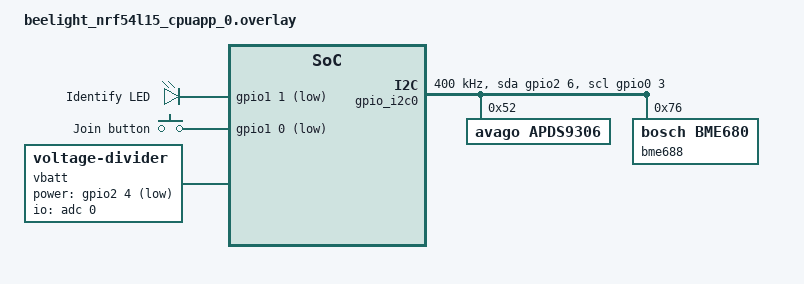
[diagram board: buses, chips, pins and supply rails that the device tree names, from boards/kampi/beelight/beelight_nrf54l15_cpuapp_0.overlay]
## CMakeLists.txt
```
# Copyright (c) 2026 BeeLight Project
# SPDX-License-Identifier: Apache-2.0

cmake_minimum_required(VERSION 3.20.0)

# Apply Zephyr patches before build
file(GLOB_RECURSE files RELATIVE ${CMAKE_SOURCE_DIR} "patches/zephyr/*.patch")
foreach(file ${files})
    message("Execute patch ${file}")
    execute_process(COMMAND
                    patch -p1 -d $ENV{ZEPHYR_BASE} -i ${CMAKE_CURRENT_SOURCE_DIR}/${file} -r - --no-backup-if-mismatch)
endforeach()

# Apply ncs-zigbee patches before build
file(GLOB_RECURSE files RELATIVE ${CMAKE_SOURCE_DIR} "patches/ncs-zigbee/*.patch")
foreach(file ${files})
    message("Execute patch ${file}")
    execute_process(COMMAND
                    patch -p1 -d ${CMAKE_CURRENT_SOURCE_DIR}/../ncs-zigbee -i ${CMAKE_CURRENT_SOURCE_DIR}/${file} -r - --no-backup-if-mismatch --binary)
endforeach()

find_package(Zephyr REQUIRED HINTS $ENV{ZEPHYR_BASE})

project(BeeLight)

add_subdirectory(src/events)
add_subdirectory(src/sensors)

include_directories(src)
include_directories(src/events)

target_sources(app PRIVATE
                   src/main.c
)

target_include_directories(app PRIVATE
                               src/sensors
                               src/events
)
```

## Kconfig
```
menu "Zephyr Kernel"
    source "Kconfig.zephyr"
endmenu

menu "BeeLight"
    menu "Logging"
        rsource "src/events/Kconfig"
        rsource "src/sensors/Kconfig"
    endmenu
endmenu
```

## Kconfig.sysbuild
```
source "${ZEPHYR_BASE}/share/sysbuild/Kconfig"

config NRF_DEFAULT_IPC_RADIO
    bool
    default y

config NETCORE_IPC_RADIO_IEEE802154
    bool
    default y
```

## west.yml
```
manifest:
  self:
    west-commands: scripts/west-commands.yml

  remotes:
    - name: ncs
      url-base: https://github.com/nrfconnect
    - name: bosch
      url-base: https://github.com/boschsensortec

  group-filter: [+bsec2]

  projects:
    - name: ncs-zigbee
      remote: ncs
      revision: main

    - name: nrf
      remote: ncs
      repo-path: sdk-nrf
      revision: v2.9.2
      import:
        name-blocklist:
          - ci-tools
          - hal_st
          - hal_adi
          - hal_afbr
          - hal_atmel
          - hal_ambiq
          - hal_bouffalolab
          - hal_ethos_u
          - hal_espressif
          - hal_rpi_pico
          - hal_gigadevice
          - hal_altera
          - hal_cypress
          - hal_infineon
          - hal_intel
          - hal_microchip
          - hal_cirrus-logic
          - hal_nxp
          - hal_nuvoton
          - hal_openisa
          - hal_xtensa
          - hal_quicklogic
          - hal_renesas
          - hal_sifli
          - hal_silabs
          - hal_st
          - hal_stm32
          - hal_ti
          - hal_tdk
          - hal_telink
          - hal_wch
          - hal_wuerthelektronik
          - loramac-node
          - net-tools
          - edtt
          - trusted-firmware-m
          - sof
          - xtensa

    - name: bsec2
      repo-path: Bosch-BSEC2-Library
      remote: bosch
      groups:
        - bsec2
```

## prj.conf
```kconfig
CONFIG_PM_DEVICE=y
CONFIG_GPIO=y
CONFIG_POWEROFF=y
CONFIG_HWINFO=y
```

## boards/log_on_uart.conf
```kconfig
CONFIG_LOG=y
CONFIG_SERIAL=y
CONFIG_UART_CONSOLE=y
CONFIG_LOG_BACKEND_RTT=n
CONFIG_LOG_BACKEND_UART=y
CONFIG_CONSOLE=y
```

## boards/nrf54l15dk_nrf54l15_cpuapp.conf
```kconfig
CONFIG_FPU=y

CONFIG_NEWLIB_LIBC=y

# Enable UART driver
CONFIG_SERIAL=y

# Enable console
CONFIG_CONSOLE=y

# Enable GPIO
CONFIG_GPIO=y

# Settings - Used to store real-time device configuration to flash
CONFIG_SETTINGS=y
CONFIG_SETTINGS_FCB=y
CONFIG_FCB=y
CONFIG_FLASH=y
CONFIG_FLASH_PAGE_LAYOUT=y
CONFIG_FLASH_MAP=y
CONFIG_STREAM_FLASH=y
CONFIG_MPU_ALLOW_FLASH_WRITE=y

# Enable the sensing subsystem
CONFIG_SENSOR=y

CONFIG_BME680=n
CONFIG_BME68X_IAQ=y
CONFIG_BME68X_IAQ_SAMPLE_RATE_QUICK_ULTRA_LOW_POWER=y

# Enable the ADC subsystem
CONFIG_ADC=y

# ZBUS configuration
CONFIG_ZBUS=y
CONFIG_ZBUS_RUNTIME_OBSERVERS=y
CONFIG_ZBUS_CHANNEL_NAME=y
CONFIG_ZBUS_OBSERVER_NAME=y
CONFIG_ZBUS_CHANNELS_SYS_INIT_PRIORITY=2

CONFIG_HEAP_MEM_POOL_SIZE=1024
CONFIG_SYSTEM_WORKQUEUE_STACK_SIZE=4096

# Enable DK LED and Buttons library (used by Zigbee utils)
CONFIG_DK_LIBRARY=y

# Networking
CONFIG_NET_IPV6=n
CONFIG_NET_IP_ADDR_CHECK=n
CONFIG_NET_UDP=n

# Configure Zigbee
CONFIG_ZIGBEE_ADD_ON=y
CONFIG_ZIGBEE_APP_UTILS=y
CONFIG_ZIGBEE_ROLE_END_DEVICE=y
CONFIG_ZIGBEE_CHANNEL_SELECTION_MODE_SINGLE=y
CONFIG_ZIGBEE_CHANNEL=16

# Enable API for powering down unused RAM parts
CONFIG_RAM_POWER_DOWN_LIBRARY=y

CONFIG_NCS_APPLICATION_BOOT_BANNER_STRING="nRF54L15DK"
```

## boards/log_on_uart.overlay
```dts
/ {
    chosen {
        zephyr,console = &uart20;
    };
};

&pinctrl {
	/omit-if-no-ref/ uart20_default: uart20_default {
		group1 {
			psels = <NRF_PSEL(UART_TX, 1, 4)>,
				    <NRF_PSEL(UART_RTS, 1, 6)>;
		};
		group2 {
			psels = <NRF_PSEL(UART_RX, 1, 5)>,
				    <NRF_PSEL(UART_CTS, 1, 7)>;
			bias-pull-up;
		};
	};

	/omit-if-no-ref/ uart20_sleep: uart20_sleep {
		group1 {
			psels = <NRF_PSEL(UART_TX, 1, 4)>,
				    <NRF_PSEL(UART_RX, 1, 5)>,
				    <NRF_PSEL(UART_RTS, 1, 6)>,
				    <NRF_PSEL(UART_CTS, 1, 7)>;
			low-power-enable;
		};
	};
};

&uart20 {
    status = "okay";
	current-speed = <9600>;
	pinctrl-0 = <&uart20_default>;
	pinctrl-1 = <&uart20_sleep>;
	pinctrl-names = "default", "sleep";
};
```

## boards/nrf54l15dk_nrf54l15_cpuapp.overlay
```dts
&pinctrl {
    i2c_default: i2c_default {
        group1 {
            psels = <NRF_PSEL(TWIM_SDA, 0, 4)>,
                    <NRF_PSEL(TWIM_SCL, 0, 3)>;
        };
    };

    i2c_sleep: i2c_sleep {
        group1 {
            psels = <NRF_PSEL(TWIM_SDA, 0, 4)>,
                    <NRF_PSEL(TWIM_SCL, 0, 3)>;
            low-power-enable;
        };
    };
};

&i2c30 {
    status = "okay";
    compatible = "nordic,nrf-twim";
    clock-frequency = <I2C_BITRATE_FAST>;
    pinctrl-0 = <&i2c_default>;
    pinctrl-1 = <&i2c_sleep>;
    pinctrl-names = "default", "sleep";

    apds9306: apds9306@52 {
        status = "okay";
        compatible = "avago,apds9306";
        reg = <0x52>;
        gain = <1>;
        resolution = <13>;
        measurement-period = <2000>;
    };

    bme688: bme688@76 {
        status = "okay";
        compatible = "bosch,bme680";
        reg = <0x76>;
    };
};
```

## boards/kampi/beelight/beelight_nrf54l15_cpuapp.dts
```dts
/*
 * Copyright (c) 2025 Daniel Kampert
 *
 * SPDX-License-Identifier: Apache-2.0
 */

/dts-v1/;
#include <nordic/nrf54l15_cpuapp.dtsi>
#include "nrf54l15_cpuapp_common.dtsi"

/ {
    model = "BeeLight nRF54L15 Application";
    compatible = "nordic,beelight-nRF54L15-cpuapp";

    chosen {
    };
};
```

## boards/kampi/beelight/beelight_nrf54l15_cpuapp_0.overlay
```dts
/*
 * Copyright (c) 2025 Daniel Kampert
 *
 * SPDX-License-Identifier: Apache-2.0
 */

/ {
    leds {
        status = "okay";
        compatible = "gpio-leds";

        led0: led_0 {
            gpios = <&gpio1 1 GPIO_ACTIVE_LOW>;
            label = "Identify LED";
        };
    };

    buttons {
        status = "okay";
        compatible = "gpio-keys";

        button0: button_0 {
            gpios = <&gpio1 0 (GPIO_PULL_UP | GPIO_ACTIVE_LOW)>;
            label = "Join button";
            zephyr,code = <INPUT_KEY_0>;
        };
    };

    vbatt: vbatt {
        status = "okay";
        compatible = "voltage-divider";
        io-channels = <&adc 0>;
        output-ohms = <2200>;
        full-ohms = <(8200 + 2200)>;
        power-gpios = <&gpio2 4 (GPIO_PULL_UP | GPIO_ACTIVE_LOW)>;
    };

    gpio_i2c0: gpio_i2c {
        status = "okay";
        compatible = "gpio-i2c";
        clock-frequency = <I2C_BITRATE_FAST>;
        sda-gpios = <&gpio2 6 GPIO_OPEN_DRAIN>;
        scl-gpios = <&gpio0 3 GPIO_OPEN_DRAIN>;
        #address-cells = <1>;
        #size-cells = <0>;
    };
};

&i2c20 {
    status = "disabled";
};

&gpio_i2c0 {
    apds9306: apds9306@52 {
        status = "okay";
        compatible = "avago,apds9306";
        reg = <0x52>;
        gain = <1>;
        resolution = <13>;
        measurement-period = <2000>;
    };

    bme688: bme688@76 {
        status = "okay";
        compatible = "bosch,bme680";
        reg = <0x76>;
    };
};
```

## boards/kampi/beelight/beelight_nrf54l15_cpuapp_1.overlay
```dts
/*
 * Copyright (c) 2025 Daniel Kampert
 *
 * SPDX-License-Identifier: Apache-2.0
 */

/ {
    leds {
        status = "okay";
        compatible = "gpio-leds";

        led0: led_0 {
            gpios = <&gpio1 1 GPIO_ACTIVE_LOW>;
            label = "Identify LED";
        };
    };

    buttons {
        status = "okay";
        compatible = "gpio-keys";

        button0: button_0 {
            gpios = <&gpio1 0 (GPIO_PULL_UP | GPIO_ACTIVE_LOW)>;
            label = "Join button";
            zephyr,code = <INPUT_KEY_0>;
        };
    };

    vbatt: vbatt {
        status = "okay";
        compatible = "voltage-divider";
        io-channels = <&adc 0>;
        output-ohms = <2200>;
        full-ohms = <(8200 + 2200)>;
        power-gpios = <&gpio2 4 (GPIO_PULL_UP | GPIO_ACTIVE_LOW)>;
    };
};

&i2c20 {
    status = "okay";
    compatible = "nordic,nrf-twim";
    clock-frequency = <I2C_BITRATE_FAST>;
    pinctrl-0 = <&i2c_default>;
    pinctrl-1 = <&i2c_sleep>;
    pinctrl-names = "default", "sleep";

    apds9306: apds9306@52 {
        status = "okay";
        compatible = "avago,apds9306";
        reg = <0x52>;
        gain = <1>;
        resolution = <13>;
        measurement-period = <2000>;
    };

    bme688: bme688@76 {
        status = "okay";
        compatible = "bosch,bme680";
        reg = <0x76>;
    };
};
```

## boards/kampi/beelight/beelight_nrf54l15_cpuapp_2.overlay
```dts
/*
 * Copyright (c) 2025 Daniel Kampert
 *
 * SPDX-License-Identifier: Apache-2.0
 */

/ {
    leds {
        status = "okay";
        compatible = "gpio-leds";

        led0: led_0 {
            gpios = <&gpio1 1 GPIO_ACTIVE_LOW>;
            label = "Identify LED";
        };
    };

    buttons {
        status = "okay";
        compatible = "gpio-keys";

        button0: button_0 {
            gpios = <&gpio1 0 (GPIO_PULL_UP | GPIO_ACTIVE_LOW)>;
            label = "Join button";
            zephyr,code = <INPUT_KEY_0>;
        };
    };

    vbatt: vbatt {
        status = "okay";
        compatible = "voltage-divider";
        io-channels = <&adc 0>;
        output-ohms = <2200>;
        /* 8.2k + 2.2k = 10.4k */
        full-ohms = <10400>;
        power-gpios = <&gpio2 4 (GPIO_PULL_UP | GPIO_ACTIVE_LOW)>;
    };
};

&i2c20 {
    status = "okay";
    compatible = "nordic,nrf-twim";
    clock-frequency = <I2C_BITRATE_FAST>;
    pinctrl-0 = <&i2c_default>;
    pinctrl-1 = <&i2c_sleep>;
    pinctrl-names = "default", "sleep";

    apds9306: apds9306@52 {
        status = "okay";
        compatible = "avago,apds9306";
        reg = <0x52>;
        gain = <1>;
        resolution = <13>;
        measurement-period = <2000>;
    };

    bme688: bme688@76 {
        status = "okay";
        compatible = "bosch,bme680";
        reg = <0x76>;
    };
};
```

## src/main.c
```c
/*
 * This file is part of the BeeLight project <https://github.com/Kampi/BeeLight>.
 * Copyright (c) 2026 Daniel Kampert.
 *
 * This program is free software: you can redistribute it and/or modify
 * it under the terms of the GNU General Public License as published by
 * the Free Software Foundation, version 3.
 *
 * This program is distributed in the hope that it will be useful, but
 * WITHOUT ANY WARRANTY; without even the implied warranty of
 * MERCHANTABILITY or FITNESS FOR A PARTICULAR PURPOSE. See the GNU
 * General Public License for more details.
 *
 * You should have received a copy of the GNU General Public License
 * along with this program. If not, see <http://www.gnu.org/licenses/>.
 */

#include <zephyr/types.h>
#include <zephyr/kernel.h>
#include <zephyr/device.h>
#include <zephyr/logging/log.h>
#include <zephyr/settings/settings.h>

#include <soc.h>
#include <ram_pwrdn.h>
#include <dk_buttons_and_leds.h>

#include <zboss_api.h>
#include <zboss_api_addons.h>
#include <zb_nrf_platform.h>
#include <zb_mem_config_med.h>
#include <zigbee/zigbee_app_utils.h>
#include <zigbee/zigbee_error_handler.h>

#include <math.h>
#include <stdlib.h>

#include "events.h"
#include "beelight/beelight.h"

/** @brief Zigbee device application context storage.
 */
static device_ctx_t dev_ctx;

/** @brief
 */
static void zbus_on_light_callback(const struct zbus_channel *chan);

/** @brief
 */
static void zbus_on_env_callback(const struct zbus_channel *chan);

/** @brief
 */
static void zbus_on_battery_callback(const struct zbus_channel *chan);

/* Declare attribute list for Identify cluster (client). */
ZB_ZCL_DECLARE_IDENTIFY_CLIENT_ATTRIB_LIST(
    identify_client_attr_list);

/** @brief Declare attribute list for Identify cluster (server).
 */
ZB_ZCL_DECLARE_IDENTIFY_SERVER_ATTRIB_LIST(
    identify_server_attr_list,
    &dev_ctx.identify_attr.identify_time);

/** @brief
 */
ZB_ZCL_DECLARE_BASIC_ATTRIB_LIST_EXT(
    basic_attr_list,
    &dev_ctx.basic_attr.zcl_version,
    &dev_ctx.basic_attr.app_version,
    &dev_ctx.basic_attr.stack_version,
    &dev_ctx.basic_attr.hw_version,
    dev_ctx.basic_attr.mf_name,
    dev_ctx.basic_attr.model_id,
    dev_ctx.basic_attr.date_code,
    &dev_ctx.basic_attr.power_source,
    dev_ctx.basic_attr.location_id,
    &dev_ctx.basic_attr.ph_env,
    dev_ctx.basic_attr.sw_ver);

/** @brief Power cluster attributes additions data.
 */
ZB_ZCL_DECLARE_POWER_CONFIG_BATTERY_ATTRIB_LIST_EXT(
    power_attr_list,
    &dev_ctx.power_attr.voltage,
    &dev_ctx.power_attr.size,
    &dev_ctx.power_attr.quantity,
    &dev_ctx.power_attr.rated_voltage,
    &dev_ctx.power_attr.alarm_mask,
    &dev_ctx.power_attr.voltage_min_threshold,
    &dev_ctx.power_attr.percent_remaining,
    &dev_ctx.power_attr.voltage_threshold_1,
    &dev_ctx.power_attr.voltage_threshold_2,
    &dev_ctx.power_attr.voltage_threshold_3,
    &dev_ctx.power_attr.percent_min_threshold,
    &dev_ctx.power_attr.percent_threshold_1,
    &dev_ctx.power_attr.percent_threshold_2,
    &dev_ctx.power_attr.percent_threshold_3,
    &dev_ctx.power_attr.alarm_state);

/** @brief Illuminance cluster attributes additions data.
 */
ZB_ZCL_DECLARE_ILLUMINANCE_MEASUREMENT_ATTRIB_LIST(
    light_sensor_attr_list,
    &dev_ctx.illuminance_attr.measurement_attr,
    &dev_ctx.illuminance_attr.min_attr,
    &dev_ctx.illuminance_attr.max_attr);

/** @brief Temperature cluster attributes additions data.
 */
ZB_ZCL_DECLARE_TEMP_MEASUREMENT_ATTRIB_LIST(
    temp_sensor_attr_list,
    &dev_ctx.temperature_attr.measurement_attr,
    &dev_ctx.temperature_attr.min_attr,
    &dev_ctx.temperature_attr.max_attr,
    &dev_ctx.temperature_attr.tolerance);

/** @brief Pressure cluster attributes additions data.
 */
ZB_ZCL_DECLARE_PRESSURE_MEASUREMENT_ATTRIB_LIST(
    pres_sensor_attr_list,
    &dev_ctx.pressure_attr.measurement_attr,
    &dev_ctx.pressure_attr.min_attr,
    &dev_ctx.pressure_attr.max_attr,
    &dev_ctx.pressure_attr.tolerance);

/** @brief Humidity cluster attributes additions data.
 */
ZB_ZCL_DECLARE_REL_HUMIDITY_MEASUREMENT_ATTRIB_LIST(
    hum_sensor_attr_list,
    &dev_ctx.humidity_attr.measurement_attr,
    &dev_ctx.humidity_attr.min_attr,
    &dev_ctx.humidity_attr.max_attr);

#if CONFIG_BME68X_IAQ
/** @brief Carbon Dioxide cluster attributes additions data.
 */
ZB_BEELIGHT_DECLARE_CO2_MEASUREMENT_ATTRIB_LIST(
    co2_sensor_attr_list,
    &dev_ctx.co2_attr.measurement_attr,
    &dev_ctx.co2_attr.min_attr,
    &dev_ctx.co2_attr.max_attr,
    &dev_ctx.co2_attr.tolerance);

/** @brief IAQ cluster attributes additions data.
 */
ZB_BEELIGHT_DECLARE_IAQ_MEASUREMENT_ATTRIB_LIST(
    iaq_sensor_attr_list,
    &dev_ctx.iaq_attr.measurement_attr,
    &dev_ctx.iaq_attr.min_attr,
    &dev_ctx.iaq_attr.max_attr,
    &dev_ctx.iaq_attr.tolerance);

/** @brief VOC cluster attributes additions data.
 */
ZB_BEELIGHT_DECLARE_VOC_MEASUREMENT_ATTRIB_LIST(
    voc_sensor_attr_list,
    &dev_ctx.voc_attr.measurement_attr,
    &dev_ctx.voc_attr.min_attr,
    &dev_ctx.voc_attr.max_attr,
    &dev_ctx.voc_attr.tolerance);
#endif /* CONFIG_BME68X_IAQ */

BEELIGHT_DECLARE_CLUSTER_LIST(
    env_sensor_clusters,
    basic_attr_list,
    identify_client_attr_list,
    identify_server_attr_list,
    power_attr_list,
    light_sensor_attr_list,
    temp_sensor_attr_list,
    pres_sensor_attr_list,
#if CONFIG_BME68X_IAQ
    hum_sensor_attr_list,
    co2_sensor_attr_list,
    iaq_sensor_attr_list,
    voc_sensor_attr_list
#else
    hum_sensor_attr_list
#endif /* CONFIG_BME68X_IAQ */
);

BEELIGHT_DECLARE_EP(
    env_sensor_ep,
    BEELIGHT_ENDPOINT,
    env_sensor_clusters);

ZBOSS_DECLARE_DEVICE_CTX_1_EP(
    env_sensor_ctx,
    env_sensor_ep);

ZBUS_CHAN_DECLARE(light_data_chan);
ZBUS_LISTENER_DEFINE(light_data_lis, zbus_on_light_callback);

ZBUS_CHAN_DECLARE(env_data_chan);
ZBUS_LISTENER_DEFINE(env_data_lis, zbus_on_env_callback);

ZBUS_CHAN_DECLARE(battery_data_chan);
ZBUS_LISTENER_DEFINE(battery_data_lis, zbus_on_battery_callback);

LOG_MODULE_REGISTER(app, LOG_LEVEL_DBG);

/** @brief          Function to toggle the identify LED.
 *  @param bufid    Unused parameter, required by ZBOSS scheduler API
 */
static void toggle_identify_led(zb_bufid_t bufid)
{
    ZB_SCHEDULE_APP_ALARM(toggle_identify_led, bufid, ZB_MILLISECONDS_TO_BEACON_INTERVAL(100));
}

/** @brief          Starts identifying the device.
 *  @param bufid    Unused parameter, required by ZBOSS scheduler API
 */
static void start_identifying(zb_bufid_t bufid)
{
    ZVUNUSED(bufid);

    if (ZB_JOINED()) {
        /* Check if endpoint is in identifying mode, if not, put desired endpoint in identifying mode. */
        if (dev_ctx.identify_attr.identify_time == ZB_ZCL_IDENTIFY_IDENTIFY_TIME_DEFAULT_VALUE) {

            zb_ret_t zb_err_code = zb_bdb_finding_binding_target(BEELIGHT_ENDPOINT);

            if (zb_err_code == RET_OK) {
                LOG_INF("Enter identify mode");
            } else if (zb_err_code == RET_INVALID_STATE) {
                LOG_WRN("RET_INVALID_STATE - Cannot enter identify mode");
            } else {
                ZB_ERROR_CHECK(zb_err_code);
            }
        } else {
            LOG_INF("Cancel identify mode");
            zb_bdb_finding_binding_target_cancel();
        }
    } else {
        LOG_WRN("Device not in a network - cannot enter identify mode");
    }
}

static void on_Identify_Handler(zb_bufid_t bufid)
{
    zb_ret_t err = RET_OK;

    if (bufid) {
        /* Schedule a self-scheduling function that will toggle the LED */
        err = ZB_SCHEDULE_APP_CALLBACK(toggle_identify_led, bufid);
        if (err) {
            LOG_ERR("Failed to schedule app callback: %d", err);
        } else {
            LOG_INF("Enter identify mode");
        }
    } else {
        /* Cancel the toggling function alarm and turn off LED */
        err = ZB_SCHEDULE_APP_ALARM_CANCEL(toggle_identify_led,
                                           ZB_ALARM_ANY_PARAM);
        if (err) {
            LOG_ERR("Failed to schedule app alarm cancel: %d", err);
        } else {
            dk_set_led_off(ZIGBEE_NETWORK_STATE_LED);
            LOG_INF("Cancel identify mode");
        }
    }
}

/** @brief              Callback for button events.
 *  @param button_state Bitmask containing the state of the buttons
 *  @param has_changed  Bitmask containing buttons that have changed their state
 */
static void on_button_changed_handler(uint32_t button_state, uint32_t has_changed)
{
    LOG_DBG("Button pressed");

    if (IDENTIFY_MODE_BUTTON & has_changed) {
        if (IDENTIFY_MODE_BUTTON & button_state) {
        }
        /* Button changed its state to pressed */
        else {
            /* Button changed its state to released */
            if (was_factory_reset_done()) {
                /* The long press was for Factory Reset */
                LOG_DBG("After Factory Reset - ignore button release");
            }
            /* Button released before Factory Reset */
            else {
                LOG_DBG("Start identifying");

                /* Start identification mode */
                ZB_SCHEDULE_APP_CALLBACK(start_identifying, 0);
            }
        }
    }

    check_factory_reset_button(button_state, has_changed);
}

/** @brief Function for initializing all clusters attributes.
 */
static void app_clusters_attr_init(void)
{
    /* Basic cluster attributes data */
    dev_ctx.basic_attr.zcl_version = ZB_ZCL_VERSION;
    dev_ctx.basic_attr.app_version = INIT_BASIC_APP_VERSION;
    dev_ctx.basic_attr.stack_version = INIT_BASIC_STACK_VERSION;

#ifdef CONFIG_BOARD_REVISION
    dev_ctx.basic_attr.hw_version = (zb_uint8_t)atoi(CONFIG_BOARD_REVISION);
#else
    dev_ctx.basic_attr.hw_version = INIT_BASIC_HW_VERSION;
#endif /* CONFIG_BOARD_REVISION */

    /* Use ZB_ZCL_SET_STRING_VAL to set strings, because the first byte */
    /* should contain string length without trailing zero. */
    /* For example "test" string will be encoded as: */
    /*   [(0x4), 't', 'e', 's', 't'] */
    ZB_ZCL_SET_STRING_VAL(
        dev_ctx.basic_attr.mf_name,
        INIT_BASIC_MANUF_NAME,
        ZB_ZCL_STRING_CONST_SIZE(INIT_BASIC_MANUF_NAME)
    );

    ZB_ZCL_SET_STRING_VAL(
        dev_ctx.basic_attr.model_id,
        INIT_BASIC_MODEL_ID,
        ZB_ZCL_STRING_CONST_SIZE(INIT_BASIC_MODEL_ID)
    );

    ZB_ZCL_SET_STRING_VAL(
        dev_ctx.basic_attr.date_code,
        INIT_BASIC_DATE_CODE,
        ZB_ZCL_STRING_CONST_SIZE(INIT_BASIC_DATE_CODE)
    );

    dev_ctx.basic_attr.power_source = ZB_ZCL_BASIC_POWER_SOURCE_BATTERY;

    ZB_ZCL_SET_STRING_VAL(
        dev_ctx.basic_attr.location_id,
        INIT_BASIC_LOCATION_DESC,
        ZB_ZCL_STRING_CONST_SIZE(INIT_BASIC_LOCATION_DESC)
    );

    dev_ctx.basic_attr.ph_env = ZB_ZCL_BASIC_ENV_UNSPECIFIED;

    /* Identify cluster attributes data. */
    dev_ctx.identify_attr.identify_time = ZB_ZCL_IDENTIFY_IDENTIFY_TIME_DEFAULT_VALUE;

#if CONFIG_BME68X_IAQ
    /* Initialize IAQ/VOC/CO2 min and max with their INVALID sentinels so that
     * check_value_iaq_measurement_server does not reject measured values > 0. */
    dev_ctx.iaq_attr.min_attr = ZB_BEELIGHT_ATTR_IAQ_MEASUREMENT_MIN_VALUE_INVALID;
    dev_ctx.iaq_attr.max_attr = ZB_BEELIGHT_ATTR_IAQ_MEASUREMENT_MAX_VALUE_INVALID;
#endif /* CONFIG_BME68X_IAQ */

    /* Initialize the values for the Battery cluster attributes */
    dev_ctx.power_attr.size = ZB_ZCL_POWER_CONFIG_BATTERY_SIZE_CR2;
    dev_ctx.power_attr.quantity = 1;
    dev_ctx.power_attr.rated_voltage = BEELIGHT_RATED_VOLTAGE_MV / 100;

    ZB_ZCL_SET_ATTRIBUTE(
        BEELIGHT_ENDPOINT,
        ZB_ZCL_CLUSTER_ID_POWER_CONFIG,
        ZB_ZCL_CLUSTER_SERVER_ROLE,
        ZB_ZCL_ATTR_POWER_CONFIG_BATTERY_VOLTAGE_ID,
        (zb_uint8_t *)&dev_ctx.power_attr.voltage,
        ZB_FALSE
    );

    ZB_ZCL_SET_ATTRIBUTE(
        BEELIGHT_ENDPOINT,
        ZB_ZCL_CLUSTER_ID_POWER_CONFIG,
        ZB_ZCL_CLUSTER_SERVER_ROLE,
        ZB_ZCL_ATTR_POWER_CONFIG_BATTERY_PERCENTAGE_REMAINING_ID,
        (zb_uint8_t *)&dev_ctx.power_attr.percent_remaining,
        ZB_FALSE
    );
}

/** @brief          Callback function for handling ZCL commands.
 *  @param bufid    Reference to Zigbee stack buffer used to pass received data
 */
static void on_zcl_cb_handler(zb_bufid_t bufid)
{
    zb_zcl_device_callback_param_t *device_cb_param = ZB_BUF_GET_PARAM(bufid, zb_zcl_device_callback_param_t);

    if (device_cb_param->device_cb_id == ZB_ZCL_OTA_UPGRADE_VALUE_CB_ID) {
#ifdef CONFIG_ZIGBEE_FOTA
        zigbee_fota_zcl_cb(bufid);
#endif /* CONFIG_ZIGBEE_FOTA */
    } else {
        device_cb_param->status = RET_NOT_IMPLEMENTED;
    }
}

/** @brief          Zigbee stack event handler.
 *  @param bufid    Reference to the Zigbee stack buffer used to pass signal
 */
void zboss_signal_handler(zb_bufid_t bufid)
{
    zb_zdo_app_signal_hdr_t *p_sg_p = NULL;
    zb_zdo_app_signal_type_t sig = zb_get_app_signal(bufid, &p_sg_p);
    zb_ret_t status = ZB_GET_APP_SIGNAL_STATUS(bufid);

    /* Update network status LED. */
    switch (sig) {
        case ZB_SIGNAL_JOIN_DONE: {
            dk_set_led_off(ZIGBEE_NETWORK_STATE_LED);
            if (status == RET_OK) {
                for (uint8_t i = 0; i < 4; i++) {
                    dk_set_led_on(ZIGBEE_NETWORK_STATE_LED);
                    k_msleep(100);
                    dk_set_led_off(ZIGBEE_NETWORK_STATE_LED);
                    k_msleep(100);
                }
            }

            break;
        }
        case ZB_ZDO_SIGNAL_LEAVE: {
            for (uint8_t i = 0; i < 2; i++) {
                dk_set_led_on(ZIGBEE_NETWORK_STATE_LED);
                k_msleep(100);
                dk_set_led_off(ZIGBEE_NETWORK_STATE_LED);
                k_msleep(100);
            }

            break;
        }
        case ZB_ZDO_SIGNAL_SKIP_STARTUP: {
            LOG_DBG("Add observers for sensors");
            zbus_chan_add_obs(&battery_data_chan, &battery_data_lis, K_MSEC(100));
            zbus_chan_add_obs(&light_data_chan, &light_data_lis, K_MSEC(100));
            zbus_chan_add_obs(&env_data_chan, &env_data_lis, K_MSEC(100));
        }
        default: {
            break;
        }
    }

    /* No application-specific behavior is required. Call default signal handler. */
    ZB_ERROR_CHECK(zigbee_default_signal_handler(bufid));

    /* All callbacks should either reuse or free passed buffers. */
    /* If bufid == 0, the buffer is invalid (not passed). */
    if (bufid) {
        zb_buf_free(bufid);
    }
}

void zbus_on_light_callback(const struct zbus_channel *chan)
{
    const struct light_event *evt = zbus_chan_const_msg(chan);

    /* Compute ZCL-scaled value; clamp 0 lux per spec */
    /* See chapter 4.2.2.2.1 if the ZCL Specification */
    zb_uint16_t measured = (evt->light == 0)
                           ? 0
                           : (zb_uint16_t)(10000 * log10((double)evt->light) + 1);

    /* Only update when values differ */
    if (measured == dev_ctx.illuminance_attr.measurement_attr) {
        return;
    }

    dev_ctx.illuminance_attr.measurement_attr = measured;

    if (evt->light > dev_ctx.illuminance_attr.max_attr) {
        dev_ctx.illuminance_attr.max_attr = dev_ctx.illuminance_attr.measurement_attr;
    } else if (evt->light < dev_ctx.illuminance_attr.min_attr) {
        dev_ctx.illuminance_attr.min_attr = dev_ctx.illuminance_attr.measurement_attr;
    }

    LOG_DBG("Light value: %u", dev_ctx.illuminance_attr.measurement_attr);
    LOG_DBG("Light min: %u", dev_ctx.illuminance_attr.min_attr);
    LOG_DBG("Light max: %u", dev_ctx.illuminance_attr.max_attr);

    ZB_ZCL_SET_ATTRIBUTE(
        BEELIGHT_ENDPOINT,
        ZB_ZCL_CLUSTER_ID_ILLUMINANCE_MEASUREMENT,
        ZB_ZCL_CLUSTER_SERVER_ROLE,
        ZB_ZCL_ATTR_ILLUMINANCE_MEASUREMENT_MEASURED_VALUE_ID,
        (zb_uint8_t *)&dev_ctx.illuminance_attr.measurement_attr,
        ZB_FALSE
    );

    ZB_ZCL_SET_ATTRIBUTE(
        BEELIGHT_ENDPOINT,
        ZB_ZCL_CLUSTER_ID_ILLUMINANCE_MEASUREMENT,
        ZB_ZCL_CLUSTER_SERVER_ROLE,
        ZB_ZCL_ATTR_ILLUMINANCE_MEASUREMENT_MIN_MEASURED_VALUE_ID,
        (zb_uint8_t *)&dev_ctx.illuminance_attr.min_attr,
        ZB_FALSE
    );

    ZB_ZCL_SET_ATTRIBUTE(
        BEELIGHT_ENDPOINT,
        ZB_ZCL_CLUSTER_ID_ILLUMINANCE_MEASUREMENT,
        ZB_ZCL_CLUSTER_SERVER_ROLE,
        ZB_ZCL_ATTR_ILLUMINANCE_MEASUREMENT_MAX_MEASURED_VALUE_ID,
        (zb_uint8_t *)&dev_ctx.illuminance_attr.max_attr,
        ZB_FALSE
    );
}

static void zbus_on_env_callback(const struct zbus_channel *chan)
{
    const struct env_event *evt = zbus_chan_const_msg(chan);

    /* Only update when values differ */
    if ((evt->temperature * 100) != dev_ctx.temperature_attr.measurement_attr) {
        /* See chapter 4.4.2.2.1 if the ZCL Specification */
        dev_ctx.temperature_attr.measurement_attr = (zb_uint16_t)(evt->temperature * 100);

        // TODO: Add Min / Max

        ZB_ZCL_SET_ATTRIBUTE(
            BEELIGHT_ENDPOINT,
            ZB_ZCL_CLUSTER_ID_TEMP_MEASUREMENT,
            ZB_ZCL_CLUSTER_SERVER_ROLE,
            ZB_ZCL_ATTR_TEMP_MEASUREMENT_VALUE_ID,
            (zb_uint8_t *)&dev_ctx.temperature_attr.measurement_attr,
            ZB_FALSE
        );

        LOG_DBG("Temperature: %u", dev_ctx.temperature_attr.measurement_attr);
    }

    if ((evt->pressure / 100) != dev_ctx.pressure_attr.measurement_attr) {
        /* See chapter 4.5.2.2.1 if the ZCL Specification */
        dev_ctx.pressure_attr.measurement_attr = (zb_uint16_t)(evt->pressure / 100);

        // TODO: Add Min / Max

        ZB_ZCL_SET_ATTRIBUTE(
            BEELIGHT_ENDPOINT,
            ZB_ZCL_CLUSTER_ID_PRESSURE_MEASUREMENT,
            ZB_ZCL_CLUSTER_SERVER_ROLE,
            ZB_ZCL_ATTR_PRESSURE_MEASUREMENT_VALUE_ID,
            (zb_uint8_t *)&dev_ctx.pressure_attr.measurement_attr,
            ZB_FALSE
        );

        LOG_DBG("Pressure: %u", dev_ctx.pressure_attr.measurement_attr);
    }

    if ((evt->humidity * 100) != dev_ctx.humidity_attr.measurement_attr) {
        /* See chapter 4.7.2.1.1 if the ZCL Specification */
        dev_ctx.humidity_attr.measurement_attr = (zb_uint16_t)(evt->humidity * 100);

        // TODO: Add Min / Max

        ZB_ZCL_SET_ATTRIBUTE(
            BEELIGHT_ENDPOINT,
            ZB_ZCL_CLUSTER_ID_REL_HUMIDITY_MEASUREMENT,
            ZB_ZCL_CLUSTER_SERVER_ROLE,
            ZB_ZCL_ATTR_REL_HUMIDITY_MEASUREMENT_VALUE_ID,
            (zb_uint8_t *)&dev_ctx.humidity_attr.measurement_attr,
            ZB_FALSE
        );

        LOG_DBG("Humidity: %u", dev_ctx.humidity_attr.measurement_attr);
    }

#if CONFIG_BME68X_IAQ
    /* TODO: Add tolerance */
    if ((evt->co2.value != dev_ctx.co2_attr.measurement_attr)) {
        dev_ctx.co2_attr.measurement_attr = (zb_uint16_t)evt->co2.value;
        dev_ctx.co2_attr.tolerance = (zb_uint8_t)evt->co2.tolerance;

        ZB_ZCL_SET_ATTRIBUTE(
            BEELIGHT_ENDPOINT,
            ZB_BEELIGHT_CLUSTER_ID_CO2_MEASUREMENT,
            ZB_ZCL_CLUSTER_SERVER_ROLE,
            ZB_BEELIGHT_ATTR_CO2_MEASUREMENT_VALUE_ID,
            (zb_uint8_t *)&dev_ctx.co2_attr.measurement_attr,
            ZB_TRUE
        );

        LOG_DBG("CO2: %u", dev_ctx.co2_attr.measurement_attr);
    }

    /* TODO: Add tolerance */
    if ((evt->iaq.value != dev_ctx.iaq_attr.measurement_attr)) {
        dev_ctx.iaq_attr.measurement_attr = (zb_uint16_t)evt->iaq.value;
        dev_ctx.iaq_attr.tolerance = (zb_uint8_t)evt->iaq.tolerance;

        ZB_ZCL_SET_ATTRIBUTE(
            BEELIGHT_ENDPOINT,
            ZB_BEELIGHT_CLUSTER_ID_IAQ_MEASUREMENT,
            ZB_ZCL_CLUSTER_SERVER_ROLE,
            ZB_BEELIGHT_ATTR_IAQ_MEASUREMENT_VALUE_ID,
            (zb_uint8_t *)&dev_ctx.iaq_attr.measurement_attr,
            ZB_TRUE
        );

        LOG_DBG("IAQ: %u", dev_ctx.iaq_attr.measurement_attr);
    }

    /* TODO: Add tolerance */
    if ((evt->voc.value != dev_ctx.voc_attr.measurement_attr)) {
        dev_ctx.voc_attr.measurement_attr = (zb_uint16_t)evt->voc.value;
        dev_ctx.voc_attr.tolerance = (zb_uint8_t)evt->voc.tolerance;

        ZB_ZCL_SET_ATTRIBUTE(
            BEELIGHT_ENDPOINT,
            ZB_BEELIGHT_CLUSTER_ID_VOC_MEASUREMENT,
            ZB_ZCL_CLUSTER_SERVER_ROLE,
            ZB_BEELIGHT_ATTR_VOC_MEASUREMENT_VALUE_ID,
            (zb_uint8_t *)&dev_ctx.voc_attr.measurement_attr,
            ZB_TRUE
        );

        LOG_DBG("VOC: %u", dev_ctx.voc_attr.measurement_attr);
    }
#endif /* CONFIG_BME68X_IAQ */
}

static void zbus_on_battery_callback(const struct zbus_channel *chan)
{
    int32_t remaining;
    const struct battery_event *evt = zbus_chan_const_msg(chan);

    /* Only update when values differ */
    if (evt->voltage == dev_ctx.power_attr.voltage) {
        return;
    }

    dev_ctx.power_attr.voltage = evt->voltage / 100;

    /* We need the difference between empty and full for the remaining percent */
    /* A CR2032 counts as empty when a voltage of 2.7 V is reached */
    /* Formula: (Voltage - Min. Voltage) [V] / (Rated voltage - Min. Voltage) [V] * 100 */
    remaining = (evt->voltage - BEELIGHT_EMPTY_VOLTAGE_MV);

    if (remaining < 0) {
        remaining = 0;
    } else {
        remaining = (remaining * 100) / (BEELIGHT_RATED_VOLTAGE_MV - BEELIGHT_EMPTY_VOLTAGE_MV);
        if (remaining > 100) {
            remaining = 100;
        }
    }

    dev_ctx.power_attr.percent_remaining = remaining * 2;

    LOG_DBG("Battery voltage: %u", dev_ctx.power_attr.voltage);
    LOG_DBG("Battery remaining: %u", dev_ctx.power_attr.percent_remaining);

    ZB_ZCL_SET_ATTRIBUTE(
        BEELIGHT_ENDPOINT,
        ZB_ZCL_CLUSTER_ID_POWER_CONFIG,
        ZB_ZCL_CLUSTER_SERVER_ROLE,
        ZB_ZCL_ATTR_POWER_CONFIG_BATTERY_VOLTAGE_ID,
        (zb_uint8_t *)&dev_ctx.power_attr.voltage,
        ZB_FALSE
    );

    ZB_ZCL_SET_ATTRIBUTE(
        BEELIGHT_ENDPOINT,
        ZB_ZCL_CLUSTER_ID_POWER_CONFIG,
        ZB_ZCL_CLUSTER_SERVER_ROLE,
        ZB_ZCL_ATTR_POWER_CONFIG_BATTERY_PERCENTAGE_REMAINING_ID,
        (zb_uint8_t *)&dev_ctx.power_attr.percent_remaining,
        ZB_FALSE
    );
}

int main(void)
{
    dk_leds_init();
    dk_buttons_init(on_button_changed_handler);

    register_factory_reset_button(FACTORY_RESET_BUTTON);

    zb_set_ed_timeout(ED_AGING_TIMEOUT_64MIN);
    zb_set_keepalive_timeout(ZB_MILLISECONDS_TO_BEACON_INTERVAL(1 * 60 * 1000));
    zb_zdo_pim_set_long_poll_interval(ZB_MILLISECONDS_TO_BEACON_INTERVAL(10 * 60 * 1000));

#ifdef CONFIG_ZIGBEE_FOTA
#error "Not supported yet!"
    /* Initialize Zigbee FOTA download service */
    zigbee_fota_init(on_zcl_ota_evt_handler);

    /* Mark the current firmware as valid */
    confirm_image();

    /* Register callback for handling ZCL commands */
    ZB_ZCL_REGISTER_DEVICE_CB(on_zcl_cb_handler);
#endif /* CONFIG_ZIGBEE_FOTA */

    /* Register device context (endpoints) */
    ZB_AF_REGISTER_DEVICE_CTX(&env_sensor_ctx);

    app_clusters_attr_init();

    /* Register handler to identify notifications */
    ZB_AF_SET_IDENTIFY_NOTIFICATION_HANDLER(BEELIGHT_ENDPOINT, on_Identify_Handler);

    /* Power off unused sections of RAM to lower device power consumption */
    zb_set_rx_on_when_idle(ZB_FALSE);
    if (IS_ENABLED(CONFIG_RAM_POWER_DOWN_LIBRARY)) {
        power_down_unused_ram();
    }

    /* Start Zigbee default thread */
    zigbee_enable();

    LOG_INF("BeeLight application started");

#if CONFIG_BME68X_IAQ
    LOG_INF("BME68X IAQ support enabled - ensure that the sensor is connected and configured correctly");
#endif

#if CONFIG_APDS9306
    LOG_INF("APDS9306 support enabled - ensure that the sensor is connected and configured correctly");
#endif

    /* Put the MCU into power down mode */
    while (1) {
        k_sleep(K_FOREVER);
    }

    return 0;
}
```
